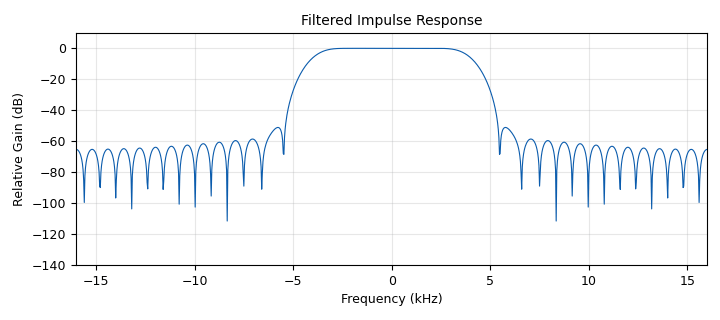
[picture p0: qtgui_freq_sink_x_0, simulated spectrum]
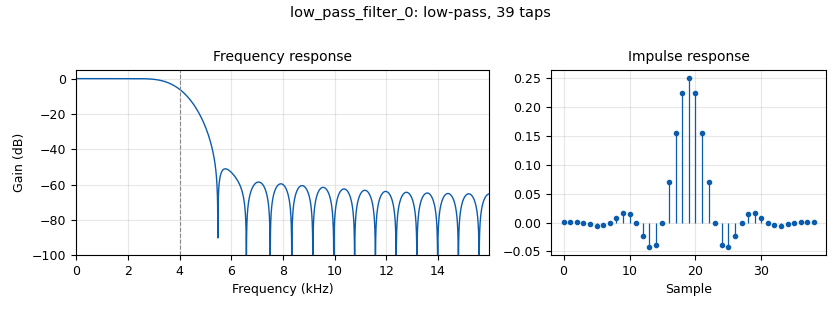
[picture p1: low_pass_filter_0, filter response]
options:
  parameters:
    author: Gilon Kraft
    generate_options: qt_gui
    id: lowPassFilter
    output_language: python
    title: filtering
  states: {}

blocks:
- name: N
  id: variable
  parameters:
    value: '1024'
  states: {}
- name: frequency
  id: variable_qtgui_range
  parameters:
    start: '-samp_rate/2'
    step: '1'
    stop: samp_rate/2
    value: '0'
  states: {}
- name: samp_rate
  id: variable
  parameters:
    value: '32000'
  states: {}
- name: blocks_throttle2_0
  id: blocks_throttle2
  parameters:
    samples_per_second: samp_rate
    type: complex
  states: {}
- name: blocks_vector_source_x_0
  id: blocks_vector_source_x
  parameters:
    repeat: 'True'
    type: complex
    vector: (N,)+(0,)*int(N-1)
  states: {}
- name: low_pass_filter_0
  id: low_pass_filter
  parameters:
    cutoff_freq: samp_rate/8
    decim: '1'
    gain: '1'
    samp_rate: samp_rate
    type: fir_filter_ccf
    width: samp_rate/16
    win: window.WIN_HAMMING
  states: {}
- name: qtgui_freq_sink_x_0
  id: qtgui_freq_sink_x
  parameters:
    bw: samp_rate
    fc: '0'
    fftsize: '1024'
    grid: 'True'
    name: Filtered Impulse Response
    type: complex
    wintype: window.WIN_RECTANGULAR
  states: {}

connections:
- [blocks_throttle2_0, '0', qtgui_freq_sink_x_0, '0']
- [blocks_vector_source_x_0, '0', low_pass_filter_0, '0']
- [low_pass_filter_0, '0', blocks_throttle2_0, '0']

metadata:
  file_format: 1
  grc_version: 3.10.12.0
